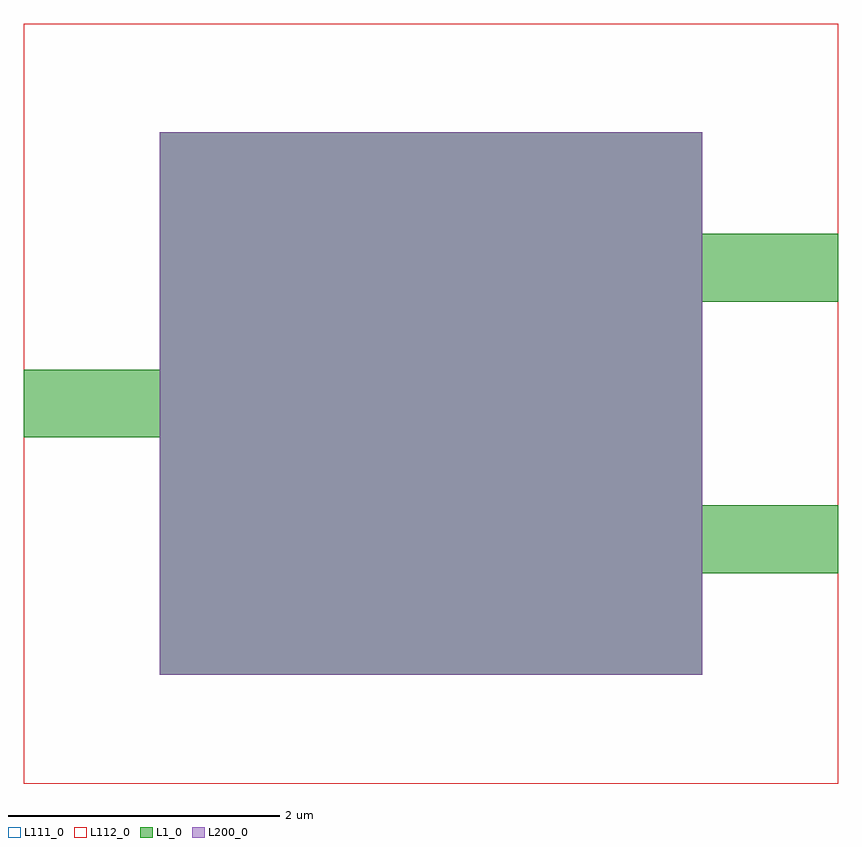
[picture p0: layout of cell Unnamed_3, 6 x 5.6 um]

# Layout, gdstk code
from math import pi, radians
import gdstk
lib = gdstk.Library(unit=1e-6, precision=1e-09)
def R(c, l, rs):  # rectangles x0, y0, x1, y1
    for r in rs: c.add(gdstk.rectangle(r[:2], r[2:], *l))
L1_0 = (1, 0)
L111_0 = (111, 0)
L112_0 = (112, 0)
L200_0 = (200, 0)

straight_l1_n2_csstrip_w = lib.new_cell('straight_L1_N2_CSstrip_W0p5_LWG')
R(straight_l1_n2_csstrip_w, L1_0, [(0,-0.25,1,0.25)])

unnamed_0 = lib.new_cell('Unnamed_0')
R(unnamed_0, L200_0, [(0,0,4,4)])

mimo = lib.new_cell('mimo')
R(mimo, L1_0, [(0,0,4,4)])
mimo.add(gdstk.Reference(straight_l1_n2_csstrip_w, (-1,2)))
mimo.add(gdstk.Reference(straight_l1_n2_csstrip_w, (5,1), rotation=pi))
mimo.add(gdstk.Reference(straight_l1_n2_csstrip_w, (5,3), rotation=pi))
mimo.add(gdstk.Reference(unnamed_0, (0,0)))

unnamed_3 = lib.new_cell('Unnamed_3')
R(unnamed_3, L111_0, [(-1,-0.8,5,4.8)])
R(unnamed_3, L112_0, [(-1,-0.8,5,4.8)])
unnamed_3.add(gdstk.Reference(mimo, (0,0)))

lib.write_gds('Unnamed_3.gds')
